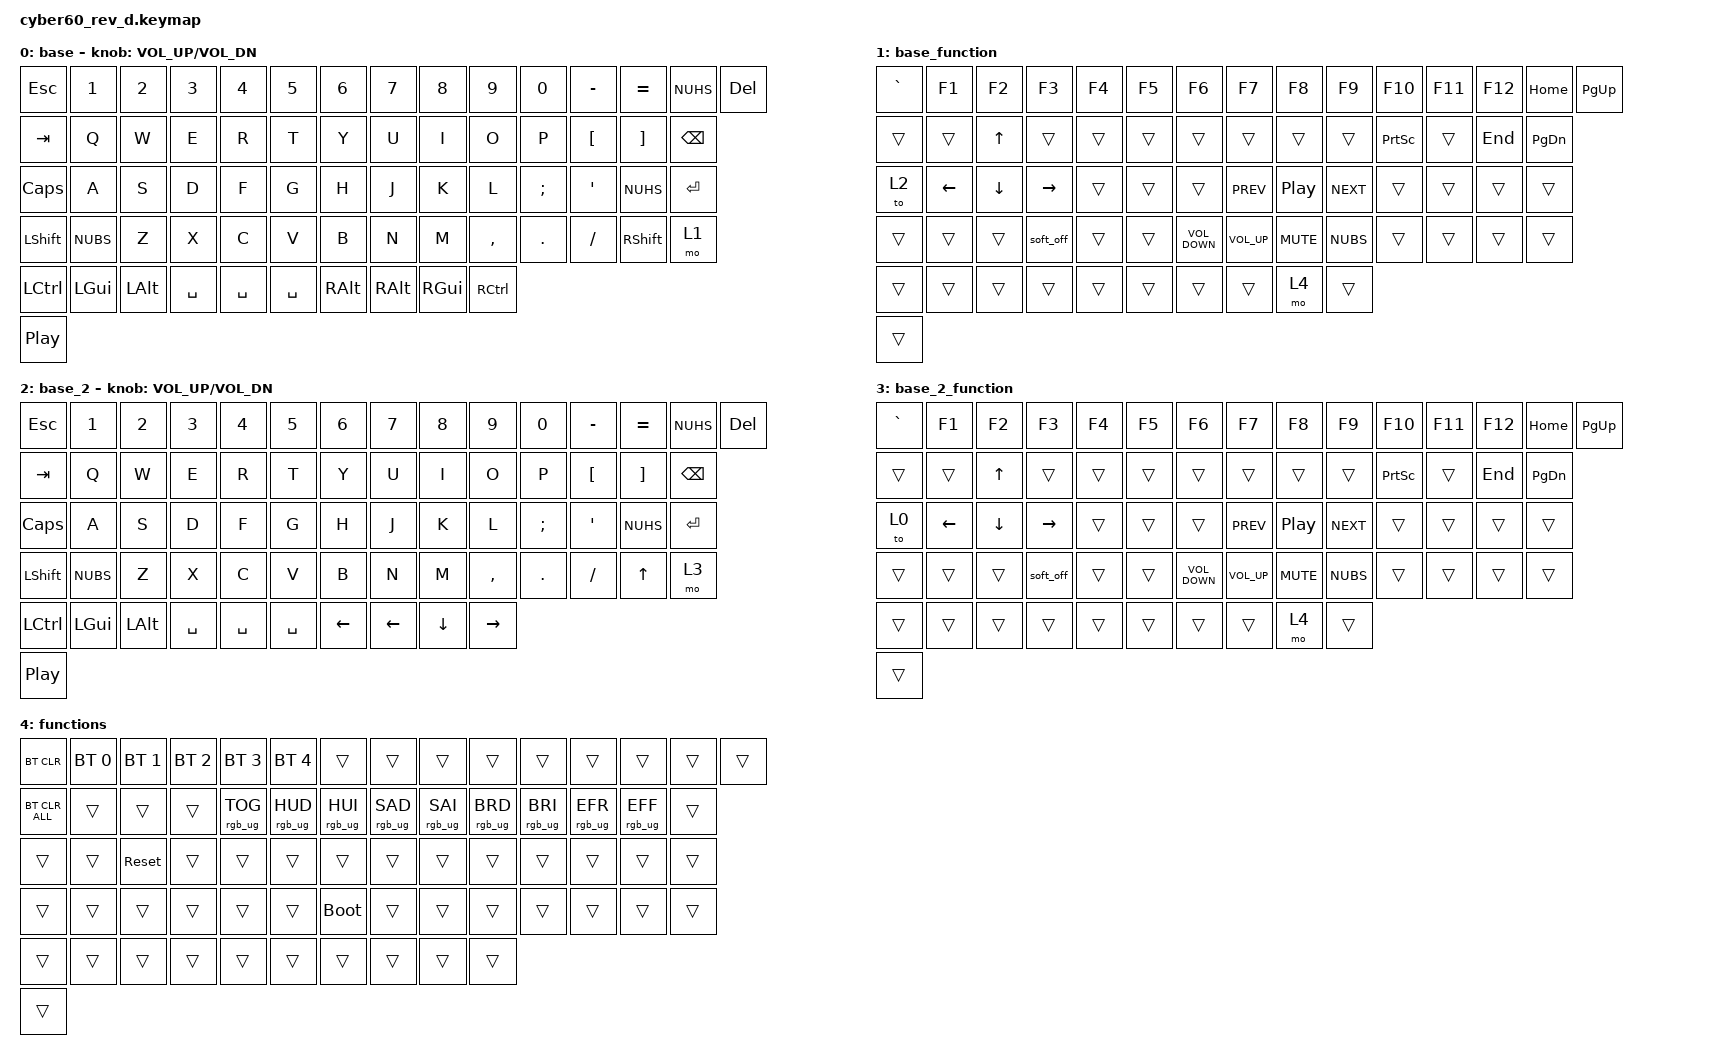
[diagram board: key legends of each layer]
#include <behaviors.dtsi>
#include <dt-bindings/zmk/bt.h>
#include <dt-bindings/zmk/keys.h>
#include <dt-bindings/zmk/rgb.h>

#define FN1 1

/ {
    keymap {
        compatible = "zmk,keymap";

        base {
            // Base layer
            // ------------------------------------------------------------------------------------------
            // | ESC |  1  |  2  |  3  |  4  |  5  |  6  |  7  |  8  |  9  |  0  |  -  |  =  |   BKSP   |
            // |  TAB |  Q  |  W  |  E  |  R  |  T  |  Y  |  U  |  I  |  O  |  P  |  [  |  ]  |   "|"   |
            // | CAPS  |  A  |  S  |  D  |  F  |  G  |  H  |  J  |  K  |  L  |  ;  |  '  |NUHS| ENTER   |
            // | SHIFT |NUBS| Z |  X  |  C  |  V  |  B  |  N  |  M  |  ,  |  .  |  /  |    Shift   | FN |
            // |  LCTL  |  LWIN  |  LALT  | SPACE  | SPACE |    SPACE   |  RALT | FN  |   RWIN  | RCTRL |
            // | Rotary | (<-- Rotary switch) ----------------------------------------------------------- 

            bindings = <
&kp ESC    &kp N1    &kp N2    &kp N3     &kp N4     &kp N5     &kp N6    &kp N7         &kp N8    &kp N9     &kp N0    &kp MINUS  &kp EQUAL  &kp NUHS       &kp DELETE
&kp TAB    &kp Q     &kp W     &kp E      &kp R      &kp T      &kp Y     &kp U          &kp I     &kp O      &kp P     &kp LBKT   &kp RBKT   &kp BACKSPACE
&kp CLCK   &kp A     &kp S     &kp D      &kp F      &kp G      &kp H     &kp J          &kp K     &kp L      &kp SEMI  &kp SQT    &kp NUHS   &kp RET
&kp LSHFT  &kp NUBS  &kp Z     &kp X      &kp C      &kp V      &kp B     &kp N          &kp M     &kp COMMA  &kp DOT   &kp FSLH   &kp RSHFT  &mo 1
&kp LCTRL  &kp LGUI  &kp LALT  &kp SPACE  &kp SPACE  &kp SPACE  &kp RALT  &kp RIGHT_ALT  &kp RGUI  &kp RCTRL
&kp C_PP
            >;

            sensor-bindings = <&inc_dec_kp C_VOL_UP C_VOL_DN>;
        };

        base_function {
            bindings = <
&kp GRAVE  &kp F1    &kp F2    &kp F3     &kp F4  &kp F5  &kp F6             &kp F7           &kp F8      &kp F9      &kp F10          &kp F11  &kp F12  &kp HOME       &kp PAGE_UP
&trans     &trans    &kp UP    &trans     &trans  &trans  &trans             &trans           &trans      &trans      &kp PRINTSCREEN  &trans   &kp END  &kp PAGE_DOWN
&to 2      &kp LEFT  &kp DOWN  &kp RIGHT  &trans  &trans  &trans             &kp C_PREV       &kp C_PP    &kp C_NEXT  &trans           &trans   &trans   &trans
&trans     &trans    &trans    &soft_off  &trans  &trans  &kp C_VOLUME_DOWN  &kp C_VOLUME_UP  &kp C_MUTE  &kp NUBS    &trans           &trans   &trans   &trans
&trans     &trans    &trans    &trans     &trans  &trans  &trans             &trans           &mo 4       &trans
&trans
            >;
        };

        base_2 {
            bindings = <
&kp ESC    &kp N1    &kp N2    &kp N3     &kp N4     &kp N5     &kp N6    &kp N7    &kp N8    &kp N9     &kp N0    &kp MINUS  &kp EQUAL  &kp NUHS       &kp DELETE
&kp TAB    &kp Q     &kp W     &kp E      &kp R      &kp T      &kp Y     &kp U     &kp I     &kp O      &kp P     &kp LBKT   &kp RBKT   &kp BACKSPACE
&kp CLCK   &kp A     &kp S     &kp D      &kp F      &kp G      &kp H     &kp J     &kp K     &kp L      &kp SEMI  &kp SQT    &kp NUHS   &kp RET
&kp LSHFT  &kp NUBS  &kp Z     &kp X      &kp C      &kp V      &kp B     &kp N     &kp M     &kp COMMA  &kp DOT   &kp FSLH   &kp UP     &mo 3
&kp LCTRL  &kp LGUI  &kp LALT  &kp SPACE  &kp SPACE  &kp SPACE  &kp LEFT  &kp LEFT  &kp DOWN  &kp RIGHT
&kp C_PP
            >;

            sensor-bindings = <&inc_dec_kp C_VOL_UP C_VOL_DN>;
        };

        base_2_function {
            bindings = <
&kp GRAVE  &kp F1    &kp F2    &kp F3     &kp F4  &kp F5  &kp F6             &kp F7           &kp F8      &kp F9      &kp F10          &kp F11  &kp F12  &kp HOME       &kp PAGE_UP
&trans     &trans    &kp UP    &trans     &trans  &trans  &trans             &trans           &trans      &trans      &kp PRINTSCREEN  &trans   &kp END  &kp PAGE_DOWN
&to 0      &kp LEFT  &kp DOWN  &kp RIGHT  &trans  &trans  &trans             &kp C_PREV       &kp C_PP    &kp C_NEXT  &trans           &trans   &trans   &trans
&trans     &trans    &trans    &soft_off  &trans  &trans  &kp C_VOLUME_DOWN  &kp C_VOLUME_UP  &kp C_MUTE  &kp NUBS    &trans           &trans   &trans   &trans
&trans     &trans    &trans    &trans     &trans  &trans  &trans             &trans           &mo 4       &trans
&trans
            >;
        };

        functions {
            bindings = <
&bt BT_CLR      &bt BT_SEL 0  &bt BT_SEL 1  &bt BT_SEL 2  &bt BT_SEL 3     &bt BT_SEL 4     &trans           &trans           &trans           &trans           &trans           &trans           &trans           &trans  &trans
&bt BT_CLR_ALL  &trans        &trans        &trans        &rgb_ug RGB_TOG  &rgb_ug RGB_HUD  &rgb_ug RGB_HUI  &rgb_ug RGB_SAD  &rgb_ug RGB_SAI  &rgb_ug RGB_BRD  &rgb_ug RGB_BRI  &rgb_ug RGB_EFR  &rgb_ug RGB_EFF  &trans
&trans          &trans        &sys_reset    &trans        &trans           &trans           &trans           &trans           &trans           &trans           &trans           &trans           &trans           &trans
&trans          &trans        &trans        &trans        &trans           &trans           &bootloader      &trans           &trans           &trans           &trans           &trans           &trans           &trans
&trans          &trans        &trans        &trans        &trans           &trans           &trans           &trans           &trans           &trans
&trans
            >;
        };
    };
};
